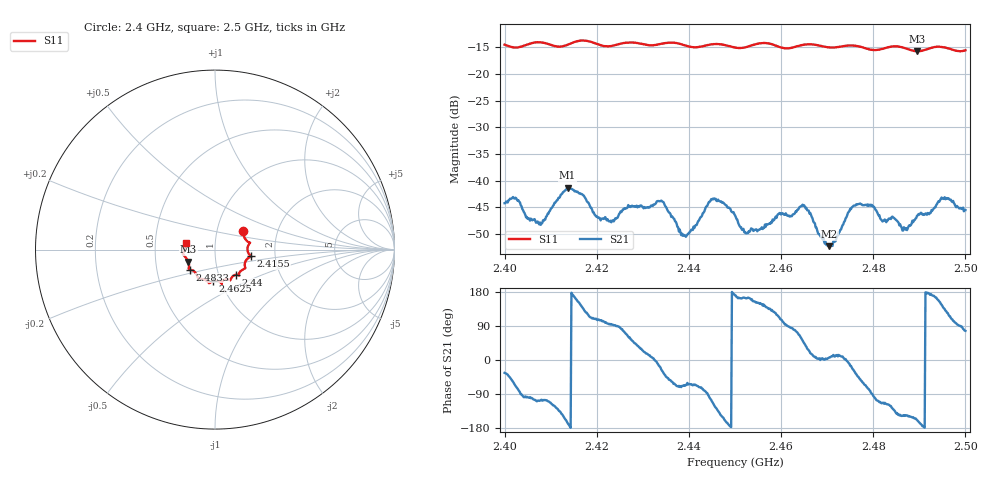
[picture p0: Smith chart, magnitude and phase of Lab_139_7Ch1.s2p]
# Hz S RI R 50
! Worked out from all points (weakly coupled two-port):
!   601 points, 2.4 GHz to 2.5 GHz, reference 50 ohm
!   highest |S21| = -41.29 dB at 2.4137 GHz (marker M1); lowest = -52.3 dB at 2.4705 GHz (marker M2)
!   lowest |S11| = -15.7 dB at 2.4895 GHz (marker M3), VSWR 1.39, Z = 36.8 - j5.11 ohm
!   |S11| at or under -10 dB: start of sweep to end of sweep
!   S12 and S22 are empty: the file has one direction only
!   S11 on the Smith chart (normalised r, x): 2.4 GHz: 1.33, +0.29; 2.4155 GHz: 1.49, -0.11; 2.44 GHz: 1.21, -0.35; 2.4625 GHz: 0.92, -0.34; 2.4833 GHz: 0.74, -0.17; 2.5 GHz: 0.72, +0.06
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2.4e9  0.1562 0.1057  0.00511 -0.00344  0 0  0 0
2.402333e9  0.1626 0.0702  0.00263 -0.00642  0 0  0 0
2.407667e9  0.1951 0.0382  -0.00121 -0.00388  0 0  0 0
2.413667e9  0.1872 -0.0211  -0.00838 -0.00203  0 0  0 0
2.4155e9  0.1986 -0.0363  -0.00748 0.00265  0 0  0 0
2.416667e9  0.2024 -0.0403  -0.00594 0.00462  0 0  0 0
2.423167e9  0.166 -0.0778  -0.000333 0.00407  0 0  0 0
2.433333e9  0.1342 -0.134  0.00633 -0.00131  0 0  0 0
2.44e9  0.1156 -0.1399  0.00144 -0.00286  0 0  0 0
2.445333e9  0.0853 -0.1706  -0.00297 -0.006  0 0  0 0
2.45e9  0.0637 -0.1655  -0.00468 0.000788  0 0  0 0
2.4525e9  0.0419 -0.1741  -0.00307 0.000959  0 0  0 0
2.4625e9  -0.0106 -0.177  0.00055 0.00478  0 0  0 0
2.464667e9  -0.0289 -0.1853  0.00373 0.00466  0 0  0 0
2.466667e9  -0.0337 -0.187  0.00442 0.00118  0 0  0 0
2.4705e9  -0.0532 -0.1696  0.00242 0.000297  0 0  0 0
2.476167e9  -0.0939 -0.1583  0.00479 -0.00339  0 0  0 0
2.483333e9  -0.1399 -0.1115  -0.00205 -0.00391  0 0  0 0
2.486833e9  -0.145 -0.0987  -0.00293 -0.002  0 0  0 0
2.4895e9  -0.1487 -0.0676  -0.00435 -0.00178  0 0  0 0
2.495167e9  -0.1776 -0.0196  -0.00516 0.00452  0 0  0 0
2.5e9  -0.1628 0.0374  0.00121 0.00518  0 0  0 0
